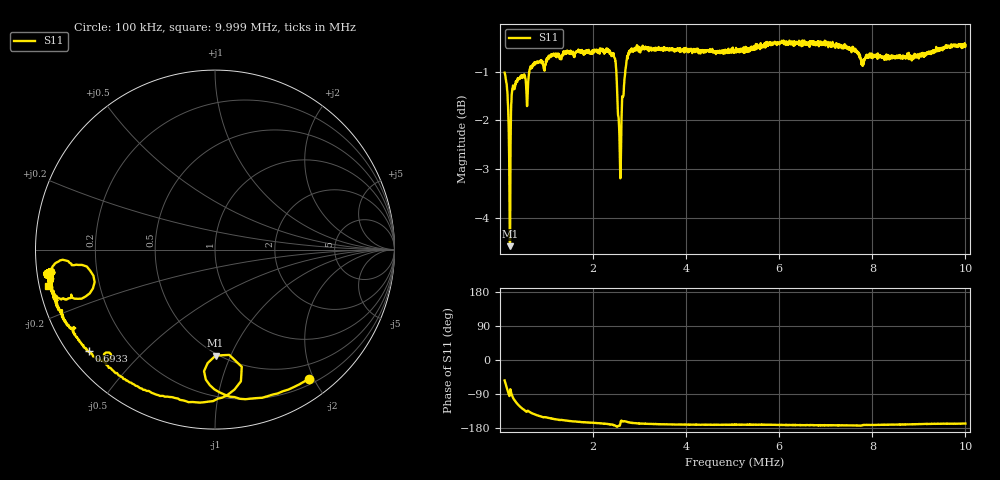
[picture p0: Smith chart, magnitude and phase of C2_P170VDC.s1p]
# HZ S RI R 50
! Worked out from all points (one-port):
!   2020 points, 100 kHz to 9.999 MHz, reference 50 ohm
!   lowest |S11| = -4.6 dB at 212.8 kHz (marker M1), VSWR 3.88, Z = 24.3 - j44 ohm
!   |S11| at or under -10 dB: nowhere
!   S11 on the Smith chart (normalised r, x): 100 kHz: 0.28, -1.93; 693.3 kHz: 0.06, -0.35; 9.999 MHz: 0.03, -0.11
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100000  0.524 -0.7183
139224  0.2915 -0.8171
163739  0.1385 -0.8312
212769  0.00344 -0.5903
266702  -0.0833 -0.8526
291217  -0.1779 -0.84
345150  -0.3146 -0.8114
428501  -0.4756 -0.7397
546173  -0.611 -0.629
693263  -0.7023 -0.5668
913898  -0.7938 -0.451
1340459  -0.8616 -0.3402
2257320  -0.9144 -0.1941
2433828  -0.9154 -0.1392
2473052  -0.9119 -0.1145
2526985  -0.817 -0.0647
2576015  -0.7143 -0.0942
2620142  -0.7827 -0.2736
2654463  -0.8007 -0.2632
2737814  -0.8809 -0.2603
2826068  -0.9098 -0.2272
3816474  -0.9286 -0.1584
5052030  -0.9237 -0.1489
6287586  -0.9447 -0.1366
7528045  -0.933 -0.1226
7802613  -0.8984 -0.1329
8763601  -0.9057 -0.1613
9999157  -0.9278 -0.2016
